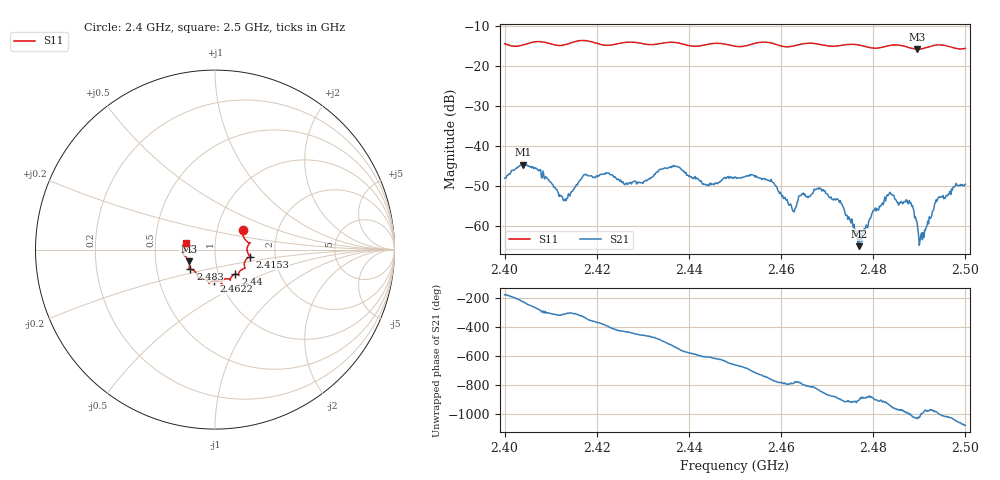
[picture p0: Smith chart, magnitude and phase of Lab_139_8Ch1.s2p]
# Hz S RI R 50
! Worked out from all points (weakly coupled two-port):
!   601 points, 2.4 GHz to 2.5 GHz, reference 50 ohm
!   highest |S21| = -44.73 dB at 2.404 GHz (marker M1); lowest = -65.1 dB at 2.477 GHz (marker M2)
!   lowest |S11| = -15.9 dB at 2.4895 GHz (marker M3), VSWR 1.38, Z = 37 - j5.01 ohm
!   |S11| at or under -10 dB: start of sweep to end of sweep
!   S12 and S22 are empty: the file has one direction only
!   S11 on the Smith chart (normalised r, x): 2.4 GHz: 1.33, +0.29; 2.4153 GHz: 1.48, -0.12; 2.44 GHz: 1.20, -0.34; 2.4622 GHz: 0.93, -0.33; 2.483 GHz: 0.74, -0.17; 2.5 GHz: 0.72, +0.06
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2.4e9  0.1552 0.1064  -0.00392 -0.000295  0 0  0 0
2.404e9  0.1749 0.0479  -0.00423 0.00397  0 0  0 0
2.413e9  0.1812 -0.0149  0.00127 0.00161  0 0  0 0
2.415333e9  0.1964 -0.0389  0.00181 0.00243  0 0  0 0
2.416667e9  0.2019 -0.0428  0.00302 0.00238  0 0  0 0
2.4295e9  0.1579 -0.1074  -0.000214 -0.00343  0 0  0 0
2.433333e9  0.1312 -0.1338  -0.00249 -0.00404  0 0  0 0
2.44e9  0.1141 -0.1368  -0.0033 0.00246  0 0  0 0
2.443833e9  0.0862 -0.1622  -0.00128 0.00291  0 0  0 0
2.45e9  0.0648 -0.1628  0.00205 0.00352  0 0  0 0
2.457833e9  0.0373 -0.1885  0.00286 -0.00248  0 0  0 0
2.462167e9  -0.00754 -0.1737  0.000738 -0.00167  0 0  0 0
2.466667e9  -0.0343 -0.1876  -0.000195 -0.00247  0 0  0 0
2.4725e9  -0.075 -0.1606  -0.00206 -0.000173  0 0  0 0
2.477e9  -0.0961 -0.153  -0.000554 2.08e-05  0 0  0 0
2.483e9  -0.1374 -0.1095  -0.00219 0.00104  0 0  0 0
2.483333e9  -0.14 -0.1093  -0.00205 0.00131  0 0  0 0
2.488167e9  -0.1427 -0.0845  0.000551 0.00186  0 0  0 0
2.4895e9  -0.1462 -0.0661  0.000653 0.000896  0 0  0 0
2.4905e9  -0.1537 -0.0522  0.000122 0.000801  0 0  0 0
2.493833e9  -0.18 -0.0236  -5.71e-05 0.00203  0 0  0 0
2.5e9  -0.1598 0.0391  0.0033 5.34e-05  0 0  0 0
